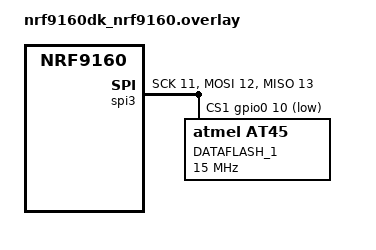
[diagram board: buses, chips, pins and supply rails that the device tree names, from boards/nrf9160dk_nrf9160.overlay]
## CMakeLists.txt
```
# SPDX-License-Identifier: Apache-2.0

cmake_minimum_required(VERSION 3.13.1)
include($ENV{ZEPHYR_BASE}/cmake/app/boilerplate.cmake NO_POLICY_SCOPE)
project(spi_flash_at45)

FILE(GLOB app_sources src/*.c)
target_sources(app PRIVATE ${app_sources})
```

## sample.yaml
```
sample:
  name: SPI Flash AT45 Sample
tests:
  sample.drivers.spi.flash.at45.build:
    tags: spi flash
    depends_on: spi
    filter: dt_compat_enabled("atmel,at45")
    build_only: true
  sample.drivers.spi.flash.at45.build.page_layout:
    extra_args: OVERLAY_CONFIG="overlay-page_layout.conf"
    tags: spi flash
    depends_on: spi
    filter: dt_compat_enabled("atmel,at45")
    build_only: true
  sample.drivers.spi.flash.at45.build.pm:
    extra_args: OVERLAY_CONFIG="overlay-pm.conf"
    tags: spi flash
    depends_on: spi
    filter: dt_compat_enabled("atmel,at45")
    build_only: true
  sample.drivers.spi.flash.at45.build.page_layout_pm:
    extra_args: OVERLAY_CONFIG="overlay-page_layout.conf;overlay-pm.conf"
    tags: spi flash
    depends_on: spi
    filter: dt_compat_enabled("atmel,at45")
    build_only: true
  sample.drivers.spi.flash.at45:
    extra_args: OVERLAY_CONFIG="overlay-page_layout.conf;overlay-pm.conf"
    tags: spi flash
    depends_on: spi
    filter: dt_compat_enabled("atmel,at45")
    harness: console
    harness_config:
      type: multi_line
      ordered: true
      regex:
        - "Using \\w+, chip size: \\d+ bytes \\(page: \\d+\\)"
        - "Reading the first byte of the test region ... OK"
        - "Preparing test content starting with 0x[0-9a-f]{2}."
        - "Writing the first half of the test region... OK"
        - "Writing the second half of the test region... OK"
        - "Reading the whole test region... OK"
        - "Checking the read content... OK"
        - "Putting the flash device into low power state... OK"
      fixture: atmel_at45
```

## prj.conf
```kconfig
CONFIG_STDOUT_CONSOLE=y
CONFIG_LOG=y
CONFIG_LOG_MODE_IMMEDIATE=y

CONFIG_SPI=y
CONFIG_SPI_FLASH_AT45=y
CONFIG_FLASH=y
CONFIG_PM_DEVICE=y
```

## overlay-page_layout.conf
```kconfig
# Copyright (c) 2020 Gerson Fernando Budke <nandojve@gmail.com>
# SPDX-License-Identifier: Apache-2.0

CONFIG_FLASH_PAGE_LAYOUT=y
```

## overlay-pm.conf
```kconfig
# Copyright (c) 2020 Gerson Fernando Budke <nandojve@gmail.com>
# SPDX-License-Identifier: Apache-2.0

CONFIG_PM_DEVICE=y
```

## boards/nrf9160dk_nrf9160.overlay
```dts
/*
 * Copyright (c) 2020 Nordic Semiconductor ASA
 *
 * SPDX-License-Identifier: Apache-2.0
 */

&spi3 {
	sck-pin = <11>;
	mosi-pin = <12>;
	miso-pin = <13>;
	cs-gpios = <&gpio0 20 GPIO_ACTIVE_LOW>,
		   <&gpio0 10 GPIO_ACTIVE_LOW>;

	at45db0: at45db041e@0 {
		compatible = "atmel,at45";
		reg = <0>;
		spi-max-frequency = <15000000>;
		label = "DATAFLASH_0";
		jedec-id = [1f 24 00];
		size = <4194304>;
		sector-size = <65536>;
		block-size = <2048>;
		page-size = <256>;
		enter-dpd-delay = <2000>;
		exit-dpd-delay = <35000>;
		status = "disabled";
	};

	at45db1: at45db321e@1 {
		compatible = "atmel,at45";
		reg = <1>;
		spi-max-frequency = <15000000>;
		label = "DATAFLASH_1";
		jedec-id = [1f 27 01];
		size = <33554432>;
		sector-size = <65536>;
		block-size = <4096>;
		page-size = <512>;
		use-udpd;
		enter-dpd-delay = <1000>;
		exit-dpd-delay = <180000>;
		status = "okay";
	};
};

&uart0 {
	/*
	 * Only TX is used in this sample, so delete the RX pin assignment
	 * to prevent UART receiver from being enabled and consuming power.
	 */
	/delete-property/ rx-pin;
};
```

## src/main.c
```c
/*
 * Copyright (c) 2020 Nordic Semiconductor ASA
 *
 * SPDX-License-Identifier: Apache-2.0
 */

#include <zephyr.h>
#include <drivers/flash.h>
#include <logging/log_ctrl.h>

#define FLASH_DEVICE        DT_LABEL(DT_INST(0, atmel_at45))

/* Set to 1 to test the chip erase functionality. Please be aware that this
 * operation takes quite a while (it depends on the chip size, but can easily
 * take tens of seconds).
 * Note - erasing of the test region or whole chip is performed only when
 *        CONFIG_SPI_FLASH_AT45_USE_READ_MODIFY_WRITE is not enabled.
 */
#define ERASE_WHOLE_CHIP    0

#define TEST_REGION_OFFSET  0xFE00
#define TEST_REGION_SIZE    0x400

static uint8_t write_buf[TEST_REGION_SIZE];
static uint8_t read_buf[TEST_REGION_SIZE];

void main(void)
{
	printk("DataFlash sample on %s\n", CONFIG_BOARD);

	const struct device *flash_dev;
	int i;
	int err;
	uint8_t data;
#ifdef CONFIG_FLASH_PAGE_LAYOUT
	struct flash_pages_info pages_info;
	size_t page_count, chip_size;
#endif

	flash_dev = device_get_binding(FLASH_DEVICE);
	if (!flash_dev) {
		printk("Device %s not found!\n", FLASH_DEVICE);
		return;
	}

#ifdef CONFIG_FLASH_PAGE_LAYOUT
	page_count = flash_get_page_count(flash_dev);
	(void)flash_get_page_info_by_idx(flash_dev, 0, &pages_info);
	chip_size = page_count * pages_info.size;
	printk("Using %s, chip size: %u bytes (page: %u)\n",
	       FLASH_DEVICE, chip_size, pages_info.size);
#endif

	printk("Reading the first byte of the test region ... ");
	err = flash_read(flash_dev, TEST_REGION_OFFSET, &data, 1);
	if (err != 0) {
		printk("FAILED\n");
		return;
	}

	printk("OK\n");

	++data;
	printk("Preparing test content starting with 0x%02X.\n", data);
	for (i = 0; i < TEST_REGION_SIZE; ++i) {
		write_buf[i] = (uint8_t)(data + i);
	}

#ifndef CONFIG_SPI_FLASH_AT45_USE_READ_MODIFY_WRITE
	if (ERASE_WHOLE_CHIP) {
#ifdef CONFIG_FLASH_PAGE_LAYOUT
		printk("Erasing the whole chip... ");
		err = flash_erase(flash_dev, 0, chip_size);
#else
		#error To full chip erase you need enable flash page layout
#endif
	} else {
		printk("Erasing the test region... ");
		err = flash_erase(flash_dev,
				  TEST_REGION_OFFSET, TEST_REGION_SIZE);
	}

	if (err != 0) {
		printk("FAILED\n");
		return;
	}

	printk("OK\n");

	printk("Checking if the test region is erased... ");
	err = flash_read(flash_dev, TEST_REGION_OFFSET,
			 read_buf, TEST_REGION_SIZE);
	if (err != 0) {
		printk("FAILED\n");
		return;
	}

	for (i = 0; i < TEST_REGION_SIZE; ++i) {
		if (read_buf[i] != 0xFF) {
			printk("\nERROR at read_buf[%d]: "
			       "expected 0x%02X, got 0x%02X\n",
			       i, 0xFF, read_buf[i]);
			return;
		}
	}

	printk("OK\n");
#endif /* !CONFIG_SPI_FLASH_AT45_USE_READ_MODIFY_WRITE */

	printk("Writing the first half of the test region... ");
	err = flash_write(flash_dev, TEST_REGION_OFFSET,
			  write_buf,  TEST_REGION_SIZE/2);
	if (err != 0) {
		printk("FAILED\n");
		return;
	}

	printk("OK\n");

	printk("Writing the second half of the test region... ");
	err = flash_write(flash_dev, TEST_REGION_OFFSET + TEST_REGION_SIZE/2,
			  &write_buf[TEST_REGION_SIZE/2], TEST_REGION_SIZE/2);
	if (err != 0) {
		printk("FAILED\n");
		return;
	}

	printk("OK\n");

	printk("Reading the whole test region... ");
	err = flash_read(flash_dev, TEST_REGION_OFFSET,
			 read_buf, TEST_REGION_SIZE);
	if (err != 0) {
		printk("FAILED\n");
		return;
	}

	printk("OK\n");

	printk("Checking the read content... ");
	for (i = 0; i < TEST_REGION_SIZE; ++i) {
		if (read_buf[i] != write_buf[i]) {
			printk("\nERROR at read_buf[%d]: "
			       "expected 0x%02X, got 0x%02X\n",
			       i, write_buf[i], read_buf[i]);
			return;
		}
	}

	printk("OK\n");

#if IS_ENABLED(CONFIG_PM_DEVICE)
	printk("Putting the flash device into low power state... ");
	err = pm_device_state_set(flash_dev, PM_DEVICE_STATE_LOW_POWER,
				  NULL, NULL);
	if (err != 0) {
		printk("FAILED\n");
		return;
	}

	printk("OK\n");
#endif

	k_sleep(K_FOREVER);
}
```
